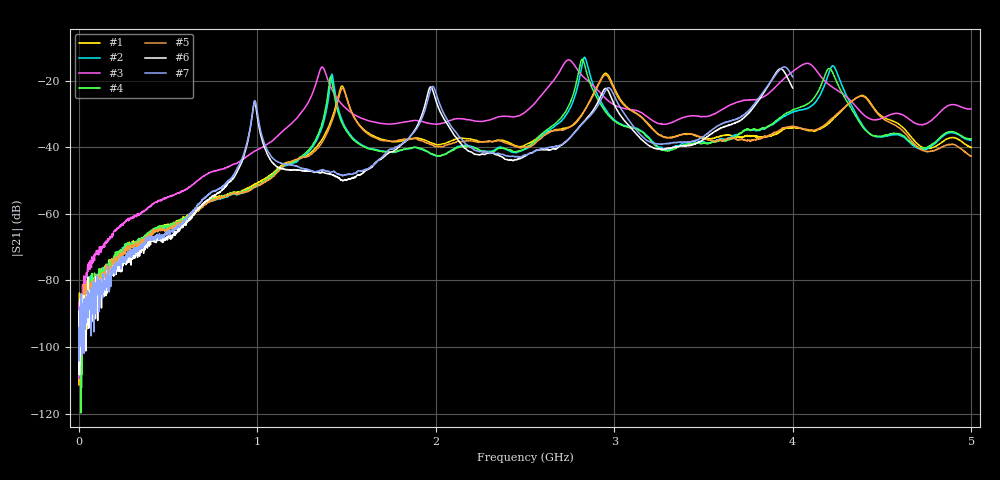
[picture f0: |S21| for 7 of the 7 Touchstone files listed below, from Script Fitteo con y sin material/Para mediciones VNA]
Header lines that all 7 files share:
! NanoVNA-App
! S-Parameter data: F S11 S21 S12 S22
# Hz S RI R 50
!  Frequency  S11_Real  S11_Imag  S21_Real  S21_Imag  S12_Real  S12_Imag  S22_Real  S22_Imag
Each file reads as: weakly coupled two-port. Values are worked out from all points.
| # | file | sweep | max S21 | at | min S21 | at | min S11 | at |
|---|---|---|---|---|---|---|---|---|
| 1 | 1-5Ghz PP FR4 Taco Madera.s2p | 10 kHz to 5 GHz | -17.77 dB | 2.952 GHz | -111.4 dB | 10 kHz | -6.8 dB | 2.933 GHz |
| 2 | 1-5Ghz PP Rogers Taco Madera.s2p | 10 kHz to 5 GHz | -12.95 dB | 2.833 GHz | -106.7 dB | 10 kHz | -5.2 dB | 4.303 GHz |
| 3 | 1-5Ghz SodaLime FR4 Taco Madera.s2p | 10 kHz to 5 GHz | -13.73 dB | 2.745 GHz | -109.4 dB | 10 kHz | -6.8 dB | 4.023 GHz |
| 4 | 1-5Ghz Teflon  Rogers Taco Madera.s2p | 10 kHz to 5 GHz | -13.56 dB | 2.822 GHz | -119.8 dB | 10.95 MHz | -5.3 dB | 4.305 GHz |
| 5 | 1-5Ghz Teflon FR4 Taco Madera.s2p | 10 kHz to 5 GHz | -18.24 dB | 2.952 GHz | -105.4 dB | 10 kHz | -6.3 dB | 2.933 GHz |
| 6 | 1Ghz PP FR4 Taco Madera.s2p | 10 kHz to 4 GHz | -16.40 dB | 3.933 GHz | -108.3 dB | 3.76 MHz | -9.0 dB | 3.926 GHz |
| 7 | 1Ghz Teflon FR4 Taco Madera.s2p | 10 kHz to 4 GHz | -15.84 dB | 3.953 GHz | -104.2 dB | 10 kHz | -7.7 dB | 3.925 GHz |
